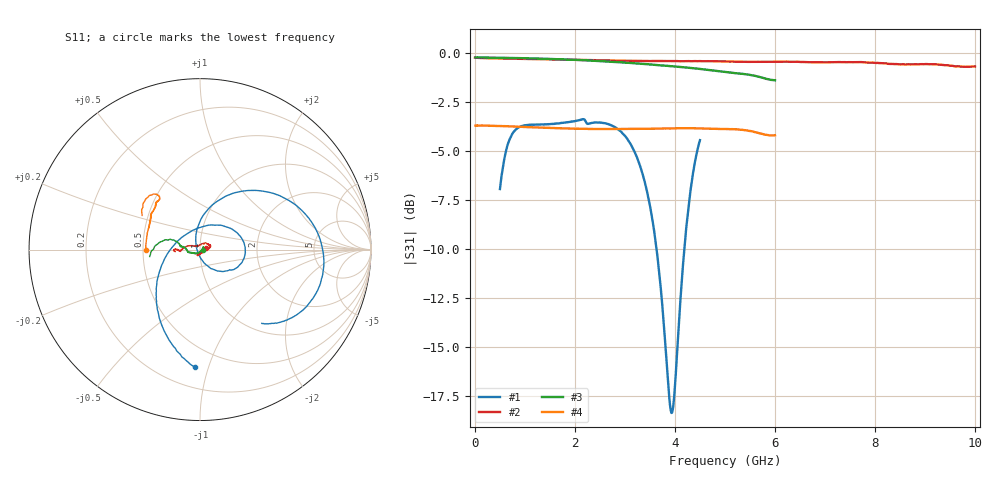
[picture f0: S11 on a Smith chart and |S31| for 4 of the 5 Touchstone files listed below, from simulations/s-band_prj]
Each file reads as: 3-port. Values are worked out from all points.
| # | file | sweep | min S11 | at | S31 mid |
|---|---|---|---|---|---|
| 1 | 1720BL15B0200.s3p | 500 MHz to 4.5 GHz | -35.4 dB | 2.845 GHz | -3.6 dB at 2.5 GHz |
| 2 | F2972_RF1_ON_EN_1_VCTL_0_50Ohms.s3p | 1 MHz to 10 GHz | -34.5 dB | 4.476 GHz | -0.4 dB at 5 GHz |
| 3 | HMC544A_RF2sel_A_5V_B_0V_deembed.s3p | 10 MHz to 6 GHz | -40.5 dB | 2.166 GHz | -0.5 dB at 3.005 GHz |
| 4 | HMC544A_undefined_A_0V_B_0V_deembed.s3p | 10 MHz to 6 GHz | -10.0 dB | 47.44 MHz | -3.9 dB at 3.005 GHz |
| 5 | HMC544A_undefined_A_5V_B_5V_deembed.s3p | 10 MHz to 6 GHz | -10.0 dB | 47.44 MHz | -3.9 dB at 3.005 GHz |
